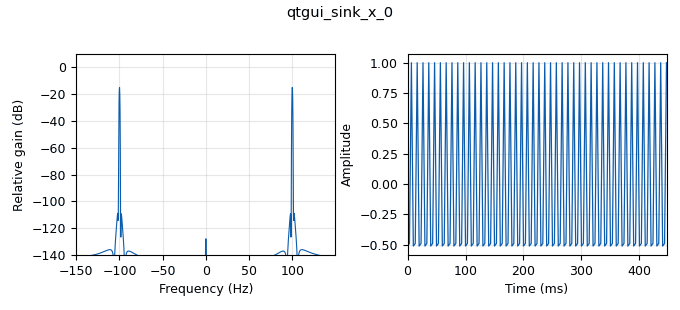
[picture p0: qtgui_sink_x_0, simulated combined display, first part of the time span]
options:
  parameters:
    generate_options: qt_gui
    id: analise_fourier
    output_language: python
    title: Análise de Fourier
  states: {}

blocks:
- name: samp_rate_cosine
  id: variable
  parameters:
    value: '300'
  states: {}
- name: samp_rate_song
  id: variable
  parameters:
    value: '44100'
  states: {}
- name: signal_input
  id: variable_qtgui_chooser
  parameters:
    label: Seleção de sinal de entrada
    label0: Coseno
    label1: Cossenos somados
    num_opts: '2'
    option0: '0'
    option1: '1'
    type: int
    value: '0'
    widget: radio_buttons
  states: {}
- name: analog_sig_source_x_0
  id: analog_sig_source_x
  parameters:
    amp: '1'
    freq: '100'
    offset: '0'
    phase: '0'
    samp_rate: samp_rate_cosine
    type: float
    waveform: analog.GR_COS_WAVE
  states: {}
- name: analog_sig_source_x_0_0
  id: analog_sig_source_x
  parameters:
    amp: '1'
    freq: '10'
    offset: '0'
    phase: '0'
    samp_rate: samp_rate_cosine
    type: float
    waveform: analog.GR_COS_WAVE
  states: {}
- name: audio_sink_0
  id: audio_sink
  parameters:
    samp_rate: samp_rate_song
  states: {state: disabled}
- name: blocks_add_xx_0
  id: blocks_add_xx
  parameters:
    type: float
  states: {}
- name: blocks_selector_0
  id: blocks_selector
  parameters:
    enabled: 'True'
    input_index: signal_input
    num_inputs: '2'
    num_outputs: '1'
    output_index: '0'
    type: float
  states: {}
- name: blocks_wavfile_source_0
  id: blocks_wavfile_source
  parameters:
    file: hino_paysandu.wav
    repeat: 'True'
  states: {state: disabled}
- name: qtgui_sink_x_0
  id: qtgui_sink_x
  parameters:
    bw: samp_rate_cosine
    fc: '0'
    fftsize: '1024'
    type: float
  states: {}
- name: qtgui_sink_x_0_0
  id: qtgui_sink_x
  parameters:
    bw: samp_rate_song
    fc: '0'
    fftsize: '1024'
    name: '"analise"'
    plotconst: 'False'
    rate: '1'
    type: float
  states: {state: disabled}

connections:
- [analog_sig_source_x_0, '0', blocks_add_xx_0, '0']
- [analog_sig_source_x_0, '0', blocks_selector_0, '0']
- [analog_sig_source_x_0_0, '0', blocks_add_xx_0, '1']
- [blocks_add_xx_0, '0', blocks_selector_0, '1']
- [blocks_selector_0, '0', qtgui_sink_x_0, '0']
- [blocks_wavfile_source_0, '0', audio_sink_0, '0']
- [blocks_wavfile_source_0, '0', qtgui_sink_x_0_0, '0']

metadata:
  file_format: 1
  grc_version: 3.10.12.0
